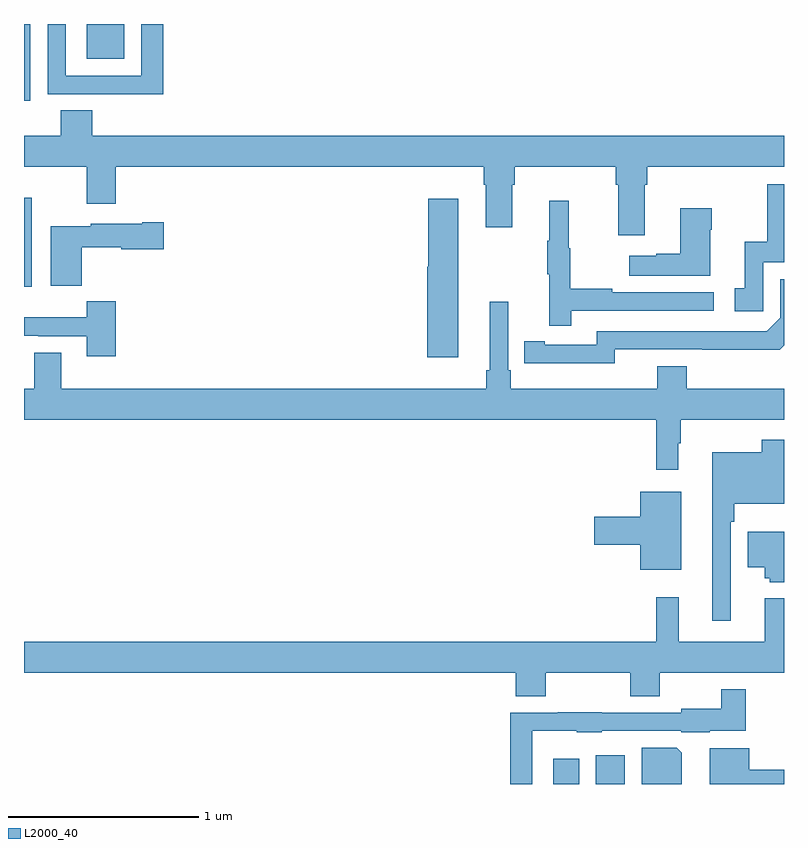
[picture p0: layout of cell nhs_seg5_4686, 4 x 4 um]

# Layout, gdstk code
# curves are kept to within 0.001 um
import gdstk
lib = gdstk.Library(unit=1e-6, precision=1e-09)
def R(c, l, rs):  # rectangles x0, y0, x1, y1
    for r in rs: c.add(gdstk.rectangle(r[:2], r[2:], *l))
def P(c, l, *ps):  # polygons
    for p in ps: c.add(gdstk.Polygon(p, *l))
L2000_40 = (2000, 40)

nhs_seg5_4686 = lib.new_cell('nhs_seg5_4686')
R(nhs_seg5_4686, L2000_40, [(387.785,898.799,387.922,898.933), (388.01,898.799,388.162,898.951), (385,901.416,385.042,901.885), (385,902.394,385.032,902.799), (385.331,902.615,385.528,902.799)])
P(nhs_seg5_4686, L2000_40, [(385.733,902.799),(385.617,902.799),(385.617,902.526),(385.221,902.526),(385.221,902.799),(385.125,902.799),(385.125,902.43),(385.441,902.43),(385.441,902.429),(385.733,902.429)],
  [(385.358,902.345),(385.193,902.345),(385.193,902.212),(385,902.212),(385,902.048),(385.331,902.048),(385.331,901.854),(385.484,901.854),(385.484,902.048),(387.419,902.048),(387.419,901.952),(387.431,901.952),(387.431,901.728),(387.571,901.728),(387.571,901.952),(387.584,901.952),(387.584,902.048),(388.115,902.048),(388.115,901.952),(388.127,901.952),(388.127,901.686),(388.267,901.686),(388.267,901.952),(388.28,901.952),(388.28,902.048),(389,902.048),(389,902.212),(385.358,902.212)],
  [(388.89,901.545),(389,901.545),(389,901.956),(388.911,901.956),(388.911,901.654),(388.793,901.654),(388.793,901.407),(388.74,901.407),(388.74,901.287),(388.89,901.287)],
  [(387.286,901.879),(387.128,901.879),(387.128,901.521),(387.122,901.521),(387.122,901.044),(387.286,901.044)],
  [(387.881,901.29),(388.63,901.29),(388.63,901.386),(388.097,901.386),(388.097,901.406),(387.874,901.406),(387.874,901.62),(387.866,901.62),(387.866,901.87),(387.764,901.87),(387.764,901.657),(387.753,901.657),(387.753,901.483),(387.764,901.483),(387.764,901.212),(387.881,901.212)],
  [(388.612,901.715),(388.62,901.715),(388.62,901.828),(388.454,901.828),(388.454,901.589),(388.328,901.589),(388.328,901.579),(388.185,901.579),(388.185,901.475),(388.612,901.475)],
  [(385.304,901.625),(385.512,901.625),(385.512,901.613),(385.735,901.613),(385.735,901.755),(385.622,901.755),(385.622,901.747),(385.35,901.747),(385.35,901.735),(385.142,901.735),(385.142,901.421),(385.304,901.421)],
  [(388.11,901.086),(388.978,901.085),(389,901.107),(389,901.455),(388.98,901.455),(388.98,901.254),(388.908,901.182),(388.014,901.182),(388.014,901.11),(387.742,901.11),(387.742,901.13),(387.634,901.13),(387.634,901.014),(388.11,901.013)],
  [(385.484,901.339),(385.329,901.339),(385.329,901.255),(385,901.255),(385,901.158),(385.075,901.158),(385.075,901.155),(385.331,901.155),(385.331,901.05),(385.484,901.05)],
  [(388.444,900.593),(388.456,900.593),(388.456,900.716),(389,900.716),(389,900.88),(388.487,900.88),(388.487,900.997),(388.334,900.997),(388.334,900.88),(387.563,900.88),(387.563,900.976),(387.549,900.976),(387.549,901.336),(387.452,901.336),(387.452,900.976),(387.433,900.976),(387.433,900.88),(385.195,900.88),(385.195,901.07),(385.055,901.07),(385.055,900.88),(385,900.88),(385,900.716),(388.327,900.716),(388.327,900.453),(388.444,900.453)],
  [(388.719,900.179),(388.739,900.179),(388.739,900.275),(389,900.275),(389,900.61),(388.884,900.61),(388.884,900.544),(388.622,900.544),(388.622,899.658),(388.719,899.658)],
  [(388.459,900.337),(388.244,900.337),(388.244,900.206),(388.002,900.206),(388.002,900.059),(388.244,900.059),(388.244,899.927),(388.459,899.927)],
  [(389,900.127),(388.808,900.127),(388.808,899.939),(388.898,899.939),(388.898,899.883),(388.926,899.883),(388.926,899.861),(389,899.861)],
  [(387.747,899.384),(388.192,899.384),(388.192,899.26),(388.347,899.26),(388.347,899.384),(389,899.384),(389,899.776),(388.898,899.776),(388.898,899.548),(388.445,899.548),(388.445,899.782),(388.327,899.782),(388.327,899.548),(385,899.548),(385,899.384),(387.587,899.384),(387.587,899.26),(387.747,899.26)],
  [(387.675,899.078),(387.909,899.078),(387.909,899.072),(388.041,899.072),(388.041,899.079),(388.458,899.079),(388.458,899.072),(388.608,899.072),(388.608,899.078),(388.799,899.078),(388.799,899.299),(388.671,899.299),(388.671,899.194),(388.458,899.194),(388.458,899.175),(388.041,899.175),(388.041,899.177),(387.809,899.177),(387.809,899.175),(387.559,899.175),(387.559,898.799),(387.675,898.799)],
  [(388.462,898.964),(388.436,898.99),(388.25,898.99),(388.25,898.799),(388.462,898.799)],
  [(389,898.874),(388.816,898.874),(388.816,898.988),(388.61,898.988),(388.61,898.799),(389,898.799)])

lib.write_gds('nhs_seg5_4686.gds')
